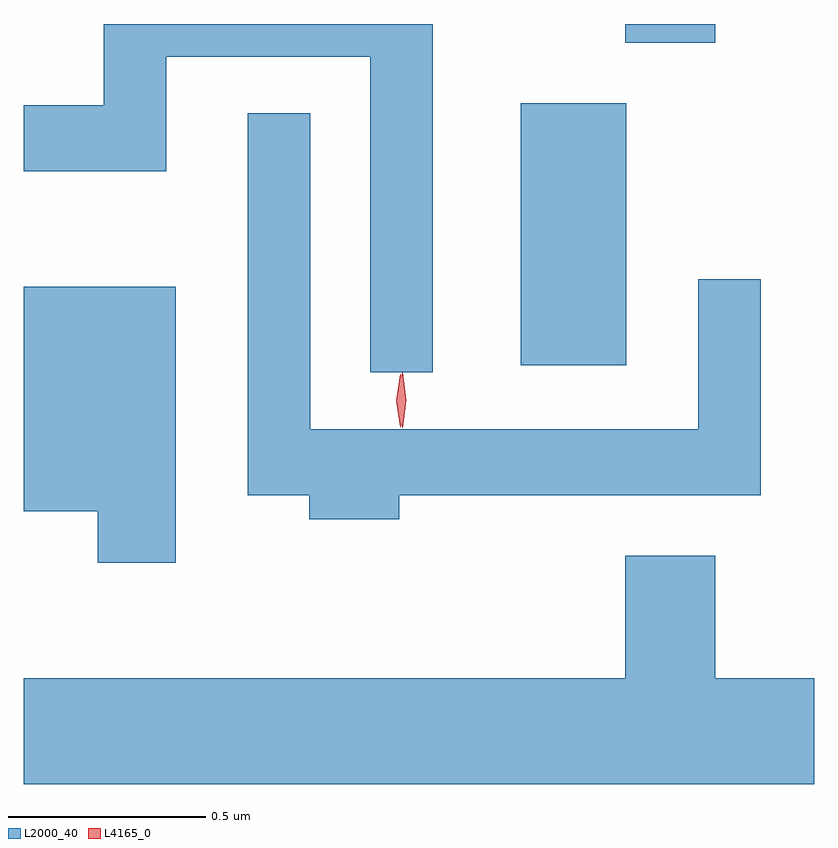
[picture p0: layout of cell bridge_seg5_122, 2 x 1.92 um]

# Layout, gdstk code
import gdstk
lib = gdstk.Library(unit=1e-6, precision=1e-09)
def R(c, l, rs):  # rectangles x0, y0, x1, y1
    for r in rs: c.add(gdstk.rectangle(r[:2], r[2:], *l))
def P(c, l, *ps):  # polygons
    for p in ps: c.add(gdstk.Polygon(p, *l))
L2000_40 = (2000, 40)
L4165_0 = (4165, 0)

bridge_seg5_122 = lib.new_cell('bridge_seg5_122')
R(bridge_seg5_122, L2000_40, [(1158.756,1522.236,1159.024,1522.899), (1159.021,1523.051,1159.249,1523.099)])
P(bridge_seg5_122, L2000_40, [(1158.534,1523.099),(1157.701,1523.099),(1157.701,1522.894),(1157.499,1522.894),(1157.499,1522.726),(1157.859,1522.726),(1157.859,1523.016),(1158.376,1523.016),(1158.376,1522.218),(1158.534,1522.218)],
  [(1158.449,1521.906),(1159.364,1521.906),(1159.364,1522.453),(1159.206,1522.453),(1159.206,1522.074),(1158.224,1522.074),(1158.224,1522.873),(1158.066,1522.873),(1158.066,1521.906),(1158.221,1521.906),(1158.221,1521.846),(1158.449,1521.846)],
  [(1157.884,1522.434),(1157.499,1522.434),(1157.499,1521.866),(1157.686,1521.866),(1157.686,1521.736),(1157.884,1521.736)],
  [(1159.499,1521.444),(1159.249,1521.444),(1159.249,1521.754),(1159.021,1521.754),(1159.021,1521.444),(1157.499,1521.444),(1157.499,1521.176),(1159.499,1521.176)])
P(bridge_seg5_122, L4165_0, [(1158.452,1522.079),(1158.452,1522.08),(1158.442,1522.146),(1158.452,1522.213),(1158.452,1522.213),(1158.453,1522.213),(1158.462,1522.146),(1158.453,1522.08)],
  [(1158.457,1522.077),(1158.457,1522.078),(1158.447,1522.147),(1158.457,1522.216),(1158.457,1522.216),(1158.458,1522.216),(1158.467,1522.147),(1158.458,1522.078)])

lib.write_gds('bridge_seg5_122.gds')
